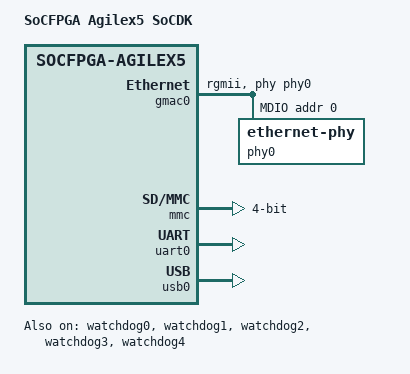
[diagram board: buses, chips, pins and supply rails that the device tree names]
// SPDX-License-Identifier: GPL-2.0-only
/*
 * Copyright (C) 2023, Intel Corporation
 */
#include "socfpga_agilex5.dtsi"

/ {
	model = "SoCFPGA Agilex5 SoCDK";
	compatible = "intel,socfpga-agilex5-socdk", "intel,socfpga-agilex5";

	aliases {
		serial0 = &uart0;
	};

	chosen {
		stdout-path = "serial0:115200n8";
	};
};

&gpio1 {
	status = "okay";
};

&gmac0 {
	status = "okay";
	phy-mode = "rgmii";
	phy-handle = <&phy0>;

	max-frame-size = <9000>;

	mdio0 {
		#address-cells = <1>;
		#size-cells = <0>;
		compatible = "snps,dwmac-mdio";
		phy0: ethernet-phy@0 {
			reg = <0>;
		};
	};
};

&mmc {
	status = "okay";
	bus-width = <4>;
	sd-uhs-sdr50;
	no-sdio;
	cdns,phy-use-ext-lpbk-dqs = <1>;
	cdns,phy-use-lpbk-dqs = <1>;
	cdns,phy-use-phony-dqs = <1>;
	cdns,phy-use-phony-dqs-cmd = <1>;
	cdns,phy-io-mask-always-on = <0>;
	cdns,phy-io-mask-end = <5>;
	cdns,phy-io-mask-start = <0>;
	cdns,phy-data-select-oe-end = <1>;
	cdns,phy-sync-method = <1>;
	cdns,phy-sw-half-cycle-shift = <0>;
	cdns,phy-rd-del-sel = <52>;
	cdns,phy-underrun-suppress = <1>;
	cdns,phy-gate-cfg-always-on = <1>;
	cdns,phy-param-dll-bypass-mode = <1>;
	cdns,phy-param-phase-detect-sel = <2>;
	cdns,phy-param-dll-start-point = <254>;
	cdns,phy-read-dqs-cmd-delay = <0>;
	cdns,phy-clk-wrdqs-delay = <0>;
	cdns,phy-clk-wr-delay = <0>;
	cdns,phy-read-dqs-delay = <0>;
	cdns,phy-phony-dqs-timing = <0>;
	cdns,hrs09-rddata-en = <1>;
	cdns,hrs09-rdcmd-en = <1>;
	cdns,hrs09-extended-wr-mode = <1>;
	cdns,hrs09-extended-rd-mode = <1>;
	cdns,hrs10-hcsdclkadj = <3>;
	cdns,hrs16-wrdata1-sdclk-dly = <0>;
	cdns,hrs16-wrdata0-sdclk-dly = <0>;
	cdns,hrs16-wrcmd1-sdclk-dly = <0>;
	cdns,hrs16-wrcmd0-sdclk-dly = <0>;
	cdns,hrs16-wrdata1-dly = <0>;
	cdns,hrs16-wrdata0-dly = <0>;
	cdns,hrs16-wrcmd1-dly = <0>;
	cdns,hrs16-wrcmd0-dly = <0>;
	cdns,hrs07-rw-compensate = <10>;
	cdns,hrs07-idelay-val = <0>;
};

&osc1 {
	clock-frequency = <25000000>;
};

&uart0 {
	status = "okay";
};

&usb0 {
	status = "okay";
	disable-over-current;
};

&watchdog0 {
	status = "okay";
};
&watchdog1 {
	status = "okay";
};
&watchdog2 {
	status = "okay";
};
&watchdog3 {
	status = "okay";
};
&watchdog4 {
	status = "okay";
	disable-over-current;
};
